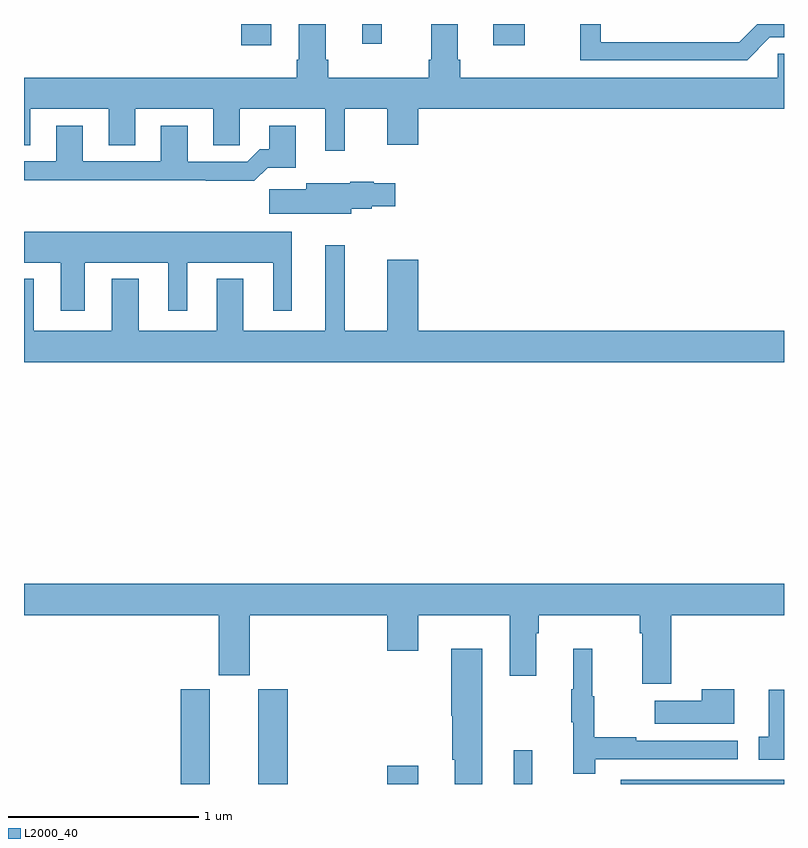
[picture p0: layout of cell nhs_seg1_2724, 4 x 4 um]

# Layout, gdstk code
import gdstk
lib = gdstk.Library(unit=1e-6, precision=1e-09)
def R(c, l, rs):  # rectangles x0, y0, x1, y1
    for r in rs: c.add(gdstk.rectangle(r[:2], r[2:], *l))
def P(c, l, *ps):  # polygons
    for p in ps: c.add(gdstk.Polygon(p, *l))
L2000_40 = (2000, 40)

nhs_seg1_2724 = lib.new_cell('nhs_seg1_2724')
R(nhs_seg1_2724, L2000_40, [(259.826,528.199,259.978,528.699), (260.234,528.199,260.387,528.699), (260.912,528.199,261.076,528.295), (261.578,528.199,261.675,528.376), (262.14,528.199,263,528.222), (260.144,532.086,260.302,532.199), (260.779,532.095,260.882,532.199)])
P(nhs_seg1_2724, L2000_40, [(261.636,532.198),(261.628,532.198),(261.628,532.199),(261.47,532.199),(261.47,532.086),(261.636,532.086)],
  [(262.926,532.128),(263,532.128),(263,532.199),(262.859,532.199),(262.764,532.104),(262.035,532.104),(262.035,532.199),(261.927,532.199),(261.927,532.008),(262.806,532.008)],
  [(260.689,531.752),(260.912,531.752),(260.912,531.564),(261.076,531.564),(261.076,531.752),(263,531.752),(263,532.043),(262.968,532.043),(262.968,531.916),(261.296,531.916),(261.296,532.012),(261.283,532.012),(261.283,532.199),(261.143,532.199),(261.143,532.012),(261.131,532.012),(261.131,531.916),(260.6,531.916),(260.6,532.012),(260.587,532.012),(260.587,532.199),(260.447,532.199),(260.447,532.012),(260.435,532.012),(260.435,531.916),(259,531.916),(259,531.562),(259.033,531.562),(259.033,531.752),(259.445,531.752),(259.445,531.562),(259.585,531.562),(259.585,531.752),(259.997,531.752),(259.997,531.562),(260.136,531.562),(260.136,531.752),(260.585,531.752),(260.585,531.531),(260.689,531.531)],
  [(260.282,531.443),(260.431,531.443),(260.431,531.664),(260.291,531.664),(260.291,531.541),(260.242,531.541),(260.175,531.474),(259.861,531.474),(259.861,531.664),(259.721,531.664),(259.721,531.477),(259.309,531.477),(259.309,531.664),(259.169,531.664),(259.169,531.477),(259,531.477),(259,531.376),(259.957,531.376),(259.957,531.374),(260.213,531.374)],
  [(260.722,531.227),(260.829,531.227),(260.829,531.239),(260.953,531.239),(260.953,531.361),(260.84,531.361),(260.84,531.369),(260.718,531.369),(260.718,531.361),(260.486,531.361),(260.486,531.329),(260.291,531.329),(260.291,531.2),(260.722,531.2)],
  [(259.321,530.942),(259.76,530.942),(259.76,530.691),(259.858,530.691),(259.858,530.942),(260.312,530.942),(260.312,530.691),(260.41,530.691),(260.41,531.106),(259,531.106),(259,530.942),(259.193,530.942),(259.193,530.691),(259.321,530.691)],
  [(263,530.584),(261.076,530.584),(261.076,530.959),(260.912,530.959),(260.912,530.584),(260.689,530.584),(260.689,531.034),(260.585,531.034),(260.585,530.584),(260.155,530.584),(260.155,530.857),(260.015,530.857),(260.015,530.584),(259.603,530.584),(259.603,530.857),(259.463,530.857),(259.463,530.584),(259.051,530.584),(259.051,530.857),(259,530.857),(259,530.42),(263,530.42)],
  [(262.406,529.088),(263,529.088),(263,529.252),(259,529.252),(259,529.088),(260.024,529.088),(260.024,528.771),(260.188,528.771),(260.188,529.088),(260.912,529.088),(260.912,528.9),(261.076,528.9),(261.076,529.088),(261.557,529.088),(261.557,528.768),(261.697,528.768),(261.697,528.992),(261.71,528.992),(261.71,529.088),(262.241,529.088),(262.241,528.992),(262.253,528.992),(262.253,528.726),(262.406,528.726)],
  [(262.007,528.33),(262.756,528.33),(262.756,528.426),(262.223,528.426),(262.223,528.446),(262,528.446),(262,528.66),(261.992,528.66),(261.992,528.91),(261.89,528.91),(261.89,528.697),(261.879,528.697),(261.879,528.523),(261.89,528.523),(261.89,528.252),(262.007,528.252)],
  [(261.412,528.91),(261.248,528.91),(261.248,528.558),(261.254,528.558),(261.254,528.327),(261.266,528.327),(261.266,528.199),(261.412,528.199)],
  [(262.738,528.697),(262.568,528.697),(262.568,528.637),(262.319,528.637),(262.319,528.515),(262.738,528.515)],
  [(263,528.694),(262.919,528.694),(262.919,528.447),(262.866,528.447),(262.866,528.327),(263,528.327)])

lib.write_gds('nhs_seg1_2724.gds')
